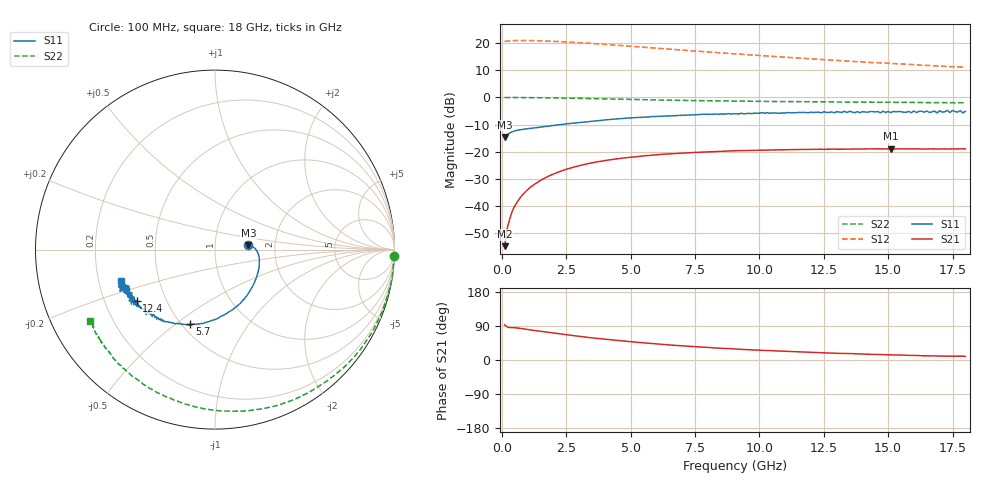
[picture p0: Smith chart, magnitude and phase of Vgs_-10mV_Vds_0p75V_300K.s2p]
#  HZ  S  DB  R  50.00
! Rohde & Schwarz ZVA50 4Ports - Version 4.11 - 1145.1110k52 SN: 100136
! Date: 2022-09-20 22:17:49
! Measurements: S11 S21 S12 S22
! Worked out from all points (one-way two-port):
!   180 points, 100 MHz to 18 GHz, reference 50 ohm
!   highest |S21| = -18.87 dB at 15.1 GHz (marker M1); lowest = -54.7 dB at 100 MHz (marker M2)
!   lowest |S11| = -14.5 dB at 100 MHz (marker M3), VSWR 1.46, Z = 72.8 + j3.66 ohm
!   |S11| at or under -10 dB: start of sweep to 2.241 GHz
!   |S22| runs from -2.0 to 0.0 dB; largest |S21 - S12| = 11
!   S11 on the Smith chart (normalised r, x): 100 MHz: 1.46, +0.07; 5.7 GHz: 0.55, -0.57; 12.4 GHz: 0.34, -0.27; 18 GHz: 0.29, -0.15
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1e8  -14.51 7.4  -54.72 92.9  20.65 -179.9  -0.03 -2.0
2e8  -13.75 4.9  -48.14 87.3  20.74 179.4  -0.02 -3.5
4e8  -12.58 -2.3  -41.75 85.5  20.89 177.5  -0.02 -7.1
8e8  -11.74 -17.4  -35.77 82.6  20.98 173.0  -0.03 -13.9
1.1e9  -11.36 -27.5  -33.07 79.3  20.95 169.6  -0.06 -19.1
1.6e9  -10.78 -41.9  -29.96 75.0  20.82 164.4  -0.09 -27.5
2.2e9  -10.05 -56.8  -27.40 69.5  20.58 158.5  -0.18 -37.3
3.1e9  -9.12 -74.3  -24.87 61.7  20.10 150.5  -0.37 -50.7
3.6e9  -8.64 -82.8  -23.86 57.7  19.82 146.1  -0.45 -58.0
4.3e9  -8.06 -92.7  -22.79 52.9  19.35 140.7  -0.57 -67.4
4.8e9  -7.60 -99.2  -22.18 49.7  18.99 137.2  -0.67 -73.5
5.7e9  -7.19 -108.4  -21.32 44.0  18.36 131.5  -0.85 -83.4
6.1e9  -6.96 -111.7  -21.01 41.9  18.08 129.2  -0.91 -87.4
7.6e9  -6.30 -123.9  -20.18 34.8  17.00 121.4  -1.15 -101.1
9.1e9  -5.99 -131.2  -19.59 28.8  16.04 115.1  -1.32 -112.1
1.01e10  -5.56 -136.7  -19.42 25.5  15.34 111.2  -1.43 -118.6
1.21e10  -5.53 -144.3  -19.10 19.8  14.14 104.9  -1.60 -129.1
1.24e10  -5.67 -146.9  -19.04 19.2  14.01 104.0  -1.58 -130.5
1.4e10  -5.24 -153.2  -18.98 15.8  13.05 99.9  -1.70 -137.5
1.51e10  -5.56 -151.0  -18.87 13.8  12.60 97.5  -1.75 -141.0
1.58e10  -5.15 -155.4  -18.94 12.2  12.17 95.2  -1.84 -144.4
1.8e10  -5.13 -161.6  -18.88 9.6  11.17 91.6  -1.91 -150.1
